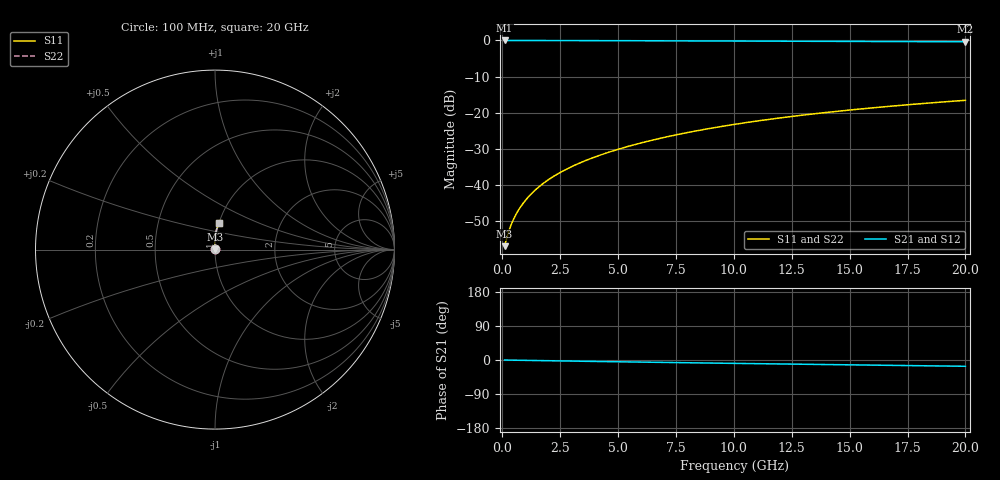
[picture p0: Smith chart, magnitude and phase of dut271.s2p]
! Touchstone file exported from HFSS 2024.1.0
!  File:  C:/UserFiles/LocalFiles/RDL_TSV_Batchsim/temp_RDL_bottom_271_1778702577.aedt
!  Generated:  04:05:30 AM May 14, 2026
!  Design:  RDL_bottom
!  Project:  temp_RDL_bottom_271_1778702577
!  Setup:  Setup1
!  Solution:  Sweep
! Variables:
!  dtsv = 10.80580581um
!  hbump = 3um
!  htsv = 77.77um
!  ldown = 238.91um
!  lrdl = 100um
!  p = 40
!  p1 = 42.22um
!  rhole = 1um
!  t = 450um
!  tdown = 3.44um
!  trdl = 3.915915916um
!  wdown = 24.87um
!  wrdl = 20um
# GHz S MA R 50.000000
! Terminal data exported
! Port[1] = RDL1_T1
! Port[2] = RDL1_T2
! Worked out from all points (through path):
!   200 points, 100 MHz to 20 GHz, reference 50 ohm
!   highest |S21| = -0.01 dB at 100 MHz (marker M1); lowest = -0.4 dB at 20 GHz (marker M2)
!   group delay of S21, straight-line fit = 2.27 ps
!   lowest |S11| = -57.0 dB at 100 MHz (marker M3), VSWR 1.00, Z = 50.1 + j0.0694 ohm
!   |S11| at or under -10 dB: start of sweep to end of sweep
!   |S22| runs from -57.0 to -16.6 dB; largest |S21 - S12| = 4.3e-15
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0.1  0.001418 29.2  0.9988 -0.1  0.9988 -0.1  0.001418 29.2
! Gamma 0 0 0 0
! Port Impedance 50 0 50 0
0.2  0.001874 45.7  0.9987 -0.2  0.9987 -0.2  0.001874 45.7
0.3  0.002385 54.7  0.9986 -0.3  0.9986 -0.3  0.002385 54.7
0.4  0.002903 60.5  0.9985 -0.4  0.9985 -0.4  0.002903 60.5
0.5  0.003422 64.7  0.9984 -0.5  0.9984 -0.5  0.003422 64.7
0.6  0.003947 67.9  0.9983 -0.6  0.9983 -0.6  0.003947 67.9
0.8  0.005016 72.8  0.9982 -0.8  0.9982 -0.8  0.005016 72.8
1  0.00611 76.2  0.9981 -1.0  0.9981 -1.0  0.00611 76.2
1.2  0.007226 78.7  0.9979 -1.2  0.9979 -1.2  0.007226 78.7
1.7  0.01009 82.8  0.9974 -1.7  0.9974 -1.7  0.01009 82.8
2.2  0.01304 85.4  0.9968 -2.1  0.9968 -2.1  0.01304 85.4
2.8  0.01668 87.5  0.9959 -2.7  0.9959 -2.7  0.01668 87.5
3.5  0.02108 89.1  0.9947 -3.4  0.9947 -3.4  0.02108 89.1
4.2  0.02565 90.2  0.9933 -4.0  0.9933 -4.0  0.02565 90.2
5  0.03108 91.0  0.9915 -4.7  0.9915 -4.7  0.03107 91.0
6.8  0.04399 91.6  0.9871 -6.3  0.9871 -6.3  0.04398 91.6
8.4  0.05611 91.1  0.9831 -7.6  0.9831 -7.6  0.0561 91.1
10.1  0.06942 90.1  0.9789 -9.0  0.9789 -9.0  0.06942 90.1
11.7  0.08218 88.9  0.9752 -10.3  0.9752 -10.3  0.08217 88.9
13.4  0.09583 87.4  0.9714 -11.6  0.9714 -11.6  0.09582 87.4
16.7  0.1223 84.3  0.9644 -14.1  0.9644 -14.1  0.1222 84.3
20  0.1482 81.1  0.9577 -16.6  0.9577 -16.6  0.1482 81.1
